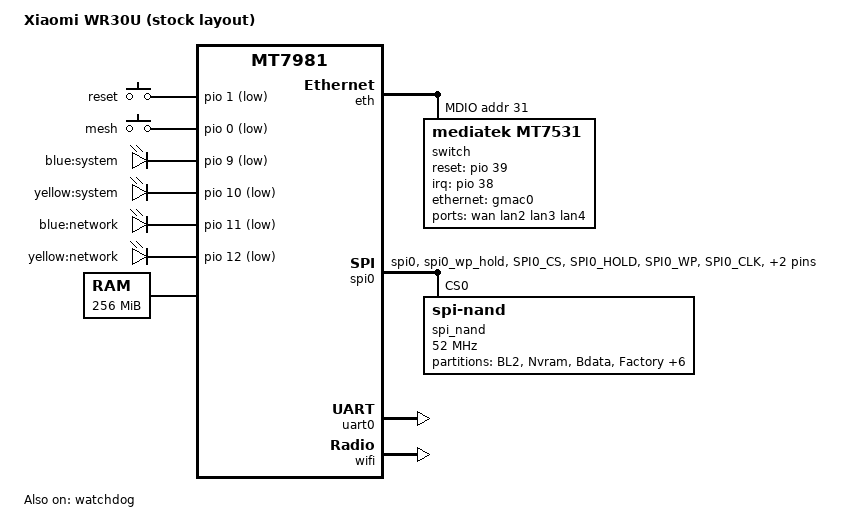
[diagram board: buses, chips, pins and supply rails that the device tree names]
// SPDX-License-Identifier: GPL-2.0-or-later OR MIT

/dts-v1/;

#include "mt7981.dtsi"

/ {
	model = "Xiaomi WR30U (stock layout)";
	compatible = "xiaomi,wr30u-stock", "mediatek,mt7981";

	aliases {
		led-boot = &led_system_yellow;
		led-failsafe = &led_system_yellow;
		led-running = &led_system_blue;
		led-upgrade = &led_system_yellow;
		serial0 = &uart0;
	};

	chosen {
		stdout-path = "serial0:115200n8";
	};

	gpio-keys {
		compatible = "gpio-keys";

		reset {
			label = "reset";
			gpios = <&pio 1 GPIO_ACTIVE_LOW>;
			linux,code = <KEY_RESTART>;
		};

		mesh {
			label = "mesh";
			gpios = <&pio 0 GPIO_ACTIVE_LOW>;
			linux,code = <BTN_9>;
		};
	};

	leds {
		compatible = "gpio-leds";

		led_system_blue: system_blue {
			label = "blue:system";
			gpios = <&pio 9 GPIO_ACTIVE_LOW>;
		};

		led_system_yellow: system_yellow {
			label = "yellow:system";
			gpios = <&pio 10 GPIO_ACTIVE_LOW>;
		};

		network_blue {
			label = "blue:network";
			gpios = <&pio 11 GPIO_ACTIVE_LOW>;
		};

		network_yellow {
			label = "yellow:network";
			gpios = <&pio 12 GPIO_ACTIVE_LOW>;
		};
	};
	
	memory {
		reg = <0x00 0x40000000 0x00 0x10000000>;
	};
};

&eth {
	status = "okay";

	gmac0: mac@0 {
		compatible = "mediatek,eth-mac";
		reg = <0>;
		phy-mode = "2500base-x";

		nvmem-cells = <&macaddr_factory_4>;
		nvmem-cell-names = "mac-address";
		mac-address-increment = <(-1)>;

		fixed-link {
			speed = <2500>;
			full-duplex;
			pause;
		};
	};

	mdio: mdio-bus {
		#address-cells = <1>;
		#size-cells = <0>;
	};
};

&mdio {
	switch: switch@1f {
		compatible = "mediatek,mt7531";
		reg = <0x1f>;
		reset-gpios = <&pio 39 GPIO_ACTIVE_HIGH>;

		interrupt-controller;
		#interrupt-cells = <1>;
		interrupt-parent = <&pio>;
		interrupts = <38 IRQ_TYPE_LEVEL_HIGH>;
	};
};

&switch {
	ports {
		#address-cells = <1>;
		#size-cells = <0>;

		port@0 {
			reg = <0>;
			label = "wan";
		};

		port@1 {
			reg = <1>;
			label = "lan2";
		};

		port@2 {
			reg = <2>;
			label = "lan3";
		};

		port@3 {
			reg = <3>;
			label = "lan4";
		};

		port@6 {
			reg = <6>;
			ethernet = <&gmac0>;
			phy-mode = "2500base-x";

			fixed-link {
				speed = <2500>;
				full-duplex;
				pause;
			};
		};
	};
};

&spi0 {
	status = "okay";

	pinctrl-names = "default";
	pinctrl-0 = <&spi0_flash_pins>;

	spi_nand: spi_nand@0 {
		compatible = "spi-nand";
		#address-cells = <1>;
		#size-cells = <1>;
		reg = <0>;

		spi-max-frequency = <52000000>;
		spi-tx-buswidth = <4>;
		spi-rx-buswidth = <4>;

		mediatek,nmbm;
		mediatek,bmt-max-ratio = <1>;
		mediatek,bmt-max-reserved-blocks = <32>;

		partitions {
			compatible = "fixed-partitions";
			#address-cells = <1>;
			#size-cells = <1>;

			partition@0 {
				label = "BL2";
				reg = <0x0 0x100000>;
				read-only;
			};

			partition@100000 {
				label = "Nvram";
				reg = <0x100000 0x40000>;
			};

			partition@140000 {
				label = "Bdata";
				reg = <0x140000 0x40000>;
			};

			factory: partition@180000 {
				label = "Factory";
				reg = <0x180000 0x200000>;
				read-only;

				compatible = "nvmem-cells";
				#address-cells = <1>;
				#size-cells = <1>;

				macaddr_factory_4: macaddr@4 {
					reg = <0x4 0x6>;
				};
			};
			
			partition@380000 {
				label = "FIP";
				reg = <0x380000 0x200000>;
				read-only;
			};

			partition@580000 {
				label = "crash";
				reg = <0x580000 0x40000>;
				read-only;
			};

			partition@5c0000 {
				label = "crash_log";
				reg = <0x5c0000 0x40000>;
				read-only;
			};

			// ubi_kernel is the ubi partition in stock.
			partition@600000 {
				label = "ubi_kernel";
				reg = <0x600000 0x2200000>;
			};

			/* ubi is the result of squashing
			 * consecutive stock partitions:
			 * - ubi1
			 * - overlay
			 * - data
			 */
			partition@2800000 {
				label = "ubi";
				reg = <0x2800000 0x4e00000>;
			};

			partition@7600000 {
				label = "KF";
				reg = <0x7600000 0x40000>;
				read-only;
			};
		};
	};
};

&pio {
	spi0_flash_pins: spi0-pins {
		mux {
			function = "spi";
			groups = "spi0", "spi0_wp_hold";
		};

		conf-pu {
			pins = "SPI0_CS", "SPI0_HOLD", "SPI0_WP";
			drive-strength = <MTK_DRIVE_8mA>;
			bias-pull-up = <MTK_PUPD_SET_R1R0_00>;
		};

		conf-pd {
			pins = "SPI0_CLK", "SPI0_MOSI", "SPI0_MISO";
			drive-strength = <MTK_DRIVE_8mA>;
			bias-pull-down = <MTK_PUPD_SET_R1R0_00>;
		};
	};
};

&uart0 {
	status = "okay";
};

&watchdog {
	status = "okay";
};

&wifi {
	status = "okay";

	mediatek,mtd-eeprom = <&factory 0x0>;
};
